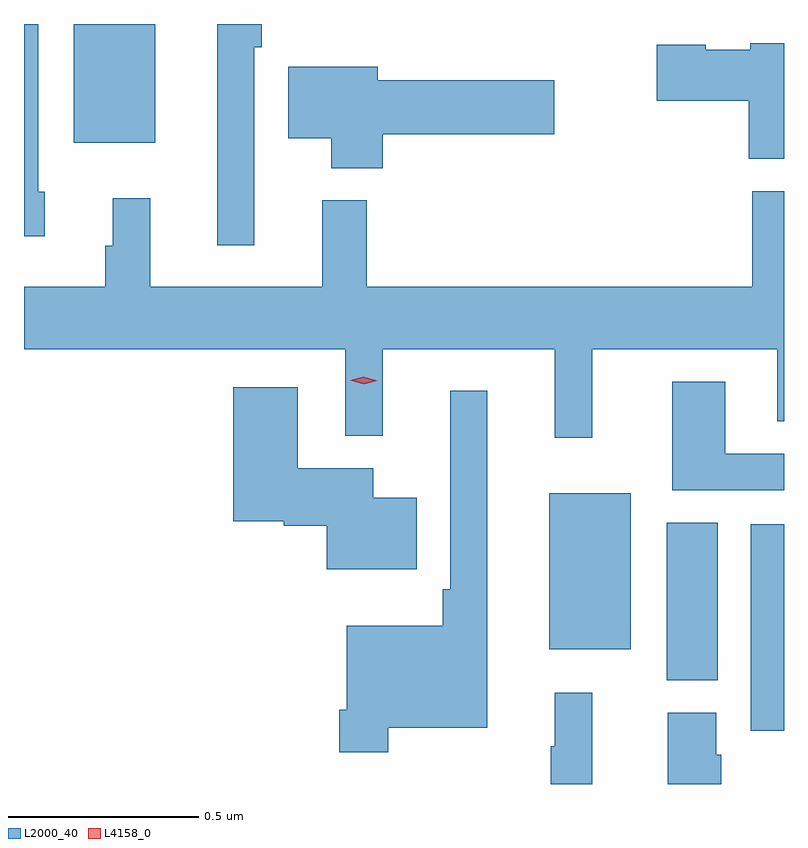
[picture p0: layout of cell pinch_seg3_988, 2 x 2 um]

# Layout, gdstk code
import gdstk
lib = gdstk.Library(unit=1e-6, precision=1e-09)
def R(c, l, rs):  # rectangles x0, y0, x1, y1
    for r in rs: c.add(gdstk.rectangle(r[:2], r[2:], *l))
def P(c, l, *ps):  # polygons
    for p in ps: c.add(gdstk.Polygon(p, *l))
L2000_40 = (2000, 40)
L4158_0 = (4158, 0)

pinch_seg3_988 = lib.new_cell('pinch_seg3_988')
R(pinch_seg3_988, L2000_40, [(494.81,730.548,494.897,731.092), (494.588,730.681,494.722,731.096), (494.279,730.763,494.494,731.173), (493.028,732.095,493.243,732.408)])
P(pinch_seg3_988, L2000_40, [(492.952,731.967),(492.934,731.967),(492.934,732.408),(492.897,732.408),(492.897,731.849),(492.952,731.849)],
  [(493.503,732.347),(493.523,732.347),(493.523,732.408),(493.406,732.408),(493.406,731.826),(493.503,731.826)],
  [(494.897,732.358),(494.808,732.358),(494.808,732.34),(494.691,732.34),(494.691,732.353),(494.562,732.353),(494.562,732.206),(494.804,732.206),(494.804,732.053),(494.897,732.053)],
  [(493.841,732.118),(494.293,732.118),(494.293,732.26),(493.828,732.26),(493.828,732.295),(493.592,732.295),(493.592,732.107),(493.706,732.107),(493.706,732.029),(493.841,732.029)],
  [(493.799,731.944),(493.682,731.944),(493.682,731.716),(493.229,731.716),(493.229,731.95),(493.13,731.95),(493.13,731.825),(493.111,731.825),(493.111,731.716),(492.897,731.716),(492.897,731.552),(493.743,731.552),(493.743,731.324),(493.841,731.324),(493.841,731.552),(494.294,731.552),(494.294,731.319),(494.393,731.319),(494.393,731.552),(494.879,731.552),(494.879,731.362),(494.897,731.362),(494.897,731.968),(494.813,731.968),(494.813,731.716),(493.799,731.716)],
  [(494.897,731.277),(494.743,731.277),(494.743,731.467),(494.603,731.467),(494.603,731.181),(494.897,731.181)],
  [(493.93,731.161),(493.816,731.161),(493.816,731.239),(493.618,731.239),(493.618,731.452),(493.448,731.452),(493.448,731.099),(493.581,731.099),(493.581,731.087),(493.694,731.087),(493.694,730.973),(493.93,730.973)],
  [(493.855,730.556),(494.116,730.556),(494.116,731.443),(494.019,731.443),(494.019,730.921),(493.999,730.921),(493.999,730.825),(493.746,730.825),(493.746,730.603),(493.726,730.603),(493.726,730.491),(493.855,730.491)],
  [(494.393,730.648),(494.294,730.648),(494.294,730.508),(494.283,730.508),(494.283,730.408),(494.393,730.408)],
  [(494.732,730.485),(494.719,730.485),(494.719,730.596),(494.591,730.596),(494.591,730.408),(494.732,730.408)])
P(pinch_seg3_988, L4158_0, [(493.791,731.46),(493.756,731.47),(493.756,731.47),(493.756,731.47),(493.791,731.48),(493.827,731.469),(493.827,731.469),(493.827,731.469)])

lib.write_gds('pinch_seg3_988.gds')
